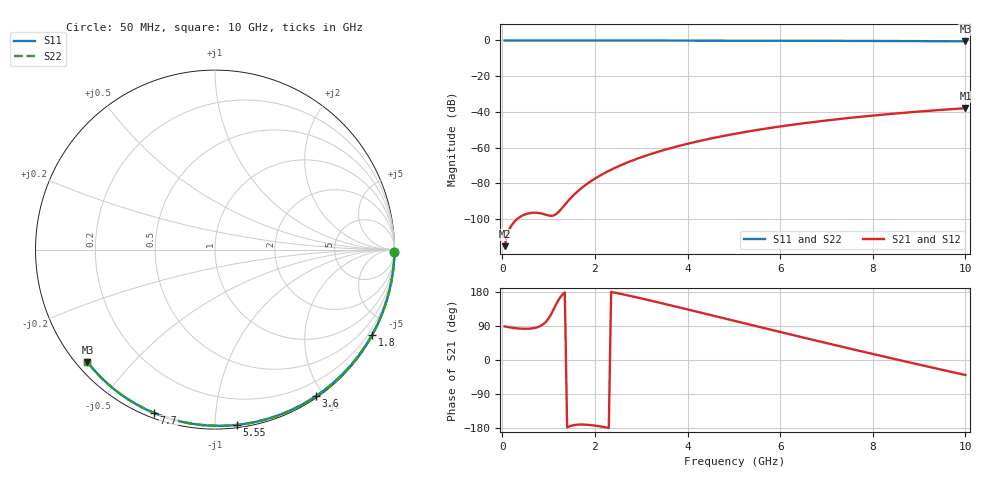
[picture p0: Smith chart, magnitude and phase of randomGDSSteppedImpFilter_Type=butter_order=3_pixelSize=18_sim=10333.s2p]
! freq	dB(S11)	phase(S11)	dB(S12)	phase(S12)
!  dB(S21)	phase(S21)	dB(S22)	phase(S22)
!S-par simulation data
#  GHz  S  DB  R 50
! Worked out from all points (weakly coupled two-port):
!   200 points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, 50 MHz to 10 GHz, reference 50 ohm
!   highest |S21| = -37.97 dB at 10 GHz (marker M1); lowest = -115.3 dB at 50 MHz (marker M2)
!   lowest |S11| = -0.5 dB at 10 GHz (marker M3), VSWR 36.99, Z = 1.54 - j18.9 ohm
!   |S11| at or under -10 dB: nowhere
!   |S22| runs from -0.5 to 0.0 dB; largest |S21 - S12| = 0
!   S11 on the Smith chart (normalised r, x): 50 MHz: open; 1.8 GHz: 0.03, -3.95; 3.6 GHz: 0.02, -1.90; 5.55 GHz: 0.02, -1.13; 7.7 GHz: 0.02, -0.69; 10 GHz: 0.03, -0.38
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0.05  -0.00 -0.8  -115.28 88.7  -115.28 88.7  -0.00 -0.8
0.45  -0.01 -7.2  -97.94 82.5  -97.94 82.5  -0.01 -7.2
0.9  -0.02 -14.3  -97.35 95.9  -97.35 95.9  -0.02 -14.3
1.75  -0.04 -27.6  -81.91 -170.4  -81.91 -170.4  -0.04 -27.6
1.8  -0.04 -28.4  -80.92 -170.7  -80.92 -170.7  -0.04 -28.4
1.85  -0.04 -29.2  -79.99 -171.1  -79.99 -171.1  -0.04 -29.2
2  -0.04 -31.5  -77.42 -173.2  -77.42 -173.2  -0.04 -31.5
2.15  -0.04 -33.8  -75.12 -176.0  -75.12 -176.0  -0.04 -33.8
2.35  -0.05 -36.8  -72.42 179.6  -72.42 179.6  -0.05 -36.8
2.55  -0.05 -39.9  -70.02 174.7  -70.02 174.7  -0.05 -39.9
2.95  -0.06 -45.9  -65.92 163.9  -65.92 163.9  -0.06 -45.9
3.4  -0.07 -52.5  -62.09 151.1  -62.09 151.1  -0.07 -52.5
3.6  -0.07 -55.5  -60.59 145.3  -60.59 145.3  -0.07 -55.5
4.3  -0.09 -65.5  -56.08 124.6  -56.08 124.6  -0.09 -65.5
5.05  -0.12 -76.0  -52.18 102.2  -52.18 102.2  -0.12 -76.0
5.55  -0.14 -82.8  -49.98 87.3  -49.98 87.3  -0.14 -82.8
6.1  -0.16 -90.1  -47.83 71.0  -47.83 71.0  -0.16 -90.1
6.7  -0.19 -97.9  -45.77 53.4  -45.77 53.4  -0.19 -97.9
7.7  -0.25 -110.5  -42.86 24.5  -42.86 24.5  -0.25 -110.5
8.35  -0.30 -118.5  -41.25 6.0  -41.25 6.0  -0.30 -118.5
9.2  -0.38 -128.9  -39.43 -17.7  -39.43 -17.7  -0.38 -128.9
10  -0.47 -138.6  -37.97 -39.6  -37.97 -39.6  -0.47 -138.6
